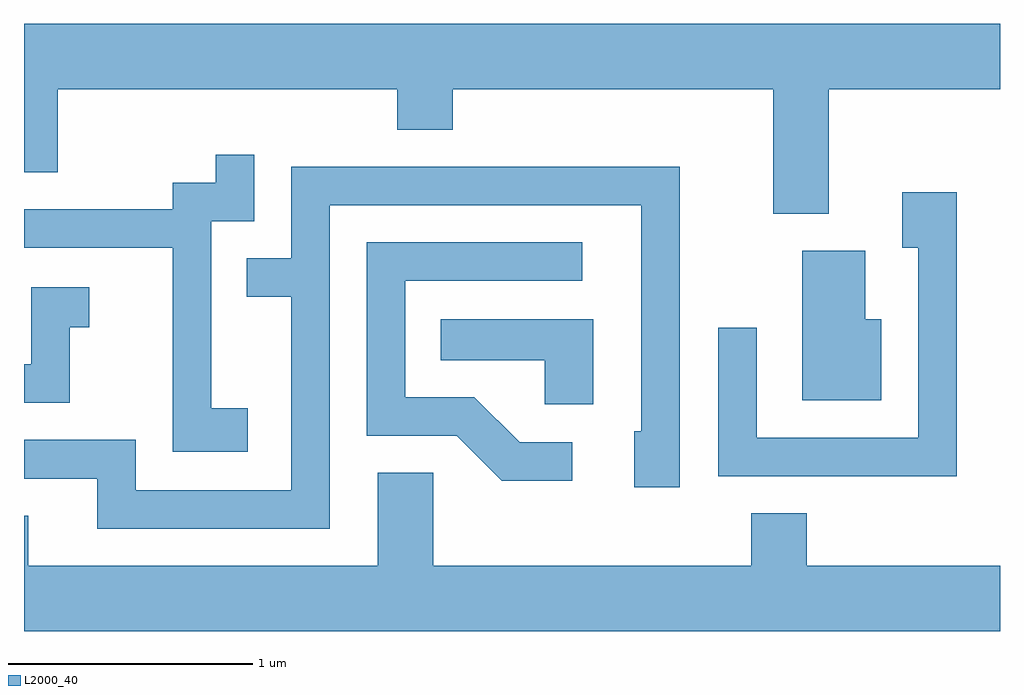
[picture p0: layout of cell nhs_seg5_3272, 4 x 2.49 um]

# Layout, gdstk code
import gdstk
lib = gdstk.Library(unit=1e-6, precision=1e-09)
def P(c, l, *ps):  # polygons
    for p in ps: c.add(gdstk.Polygon(p, *l))
L2000_40 = (2000, 40)

nhs_seg5_3272 = lib.new_cell('nhs_seg5_3272')
P(nhs_seg5_3272, L2000_40, [(284.909,1505.636),(285.611,1505.636),(285.611,1505.904),(281.611,1505.904),(281.611,1505.296),(281.749,1505.296),(281.749,1505.636),(283.141,1505.636),(283.141,1505.471),(283.369,1505.471),(283.369,1505.636),(284.681,1505.636),(284.681,1505.126),(284.909,1505.126)],
  [(282.529,1504.329),(282.379,1504.329),(282.379,1505.096),(282.554,1505.096),(282.554,1505.368),(282.396,1505.368),(282.396,1505.254),(282.221,1505.254),(282.221,1505.144),(281.611,1505.144),(281.611,1504.986),(282.221,1504.986),(282.221,1504.151),(282.529,1504.151)],
  [(282.864,1505.161),(284.141,1505.161),(284.141,1504.234),(284.111,1504.234),(284.111,1504.006),(284.299,1504.006),(284.299,1505.319),(282.706,1505.319),(282.706,1504.944),(282.523,1504.944),(282.523,1504.786),(282.706,1504.786),(282.706,1503.994),(282.069,1503.994),(282.069,1504.199),(281.611,1504.199),(281.611,1504.041),(281.911,1504.041),(281.911,1503.836),(282.864,1503.836)],
  [(285.434,1505.214),(285.211,1505.214),(285.211,1504.986),(285.276,1504.986),(285.276,1504.209),(284.614,1504.209),(284.614,1504.658),(284.456,1504.658),(284.456,1504.051),(285.434,1504.051)],
  [(283.858,1504.189),(283.642,1504.189),(283.457,1504.374),(283.174,1504.374),(283.174,1504.851),(283.898,1504.851),(283.898,1505.009),(283.016,1505.009),(283.016,1504.216),(283.384,1504.216),(283.569,1504.031),(283.858,1504.031)],
  [(285.124,1504.694),(285.059,1504.694),(285.059,1504.974),(284.801,1504.974),(284.801,1504.361),(285.124,1504.361)],
  [(281.799,1504.661),(281.878,1504.661),(281.878,1504.824),(281.641,1504.824),(281.641,1504.509),(281.611,1504.509),(281.611,1504.351),(281.799,1504.351)],
  [(283.944,1504.694),(283.318,1504.694),(283.318,1504.526),(283.746,1504.526),(283.746,1504.346),(283.944,1504.346)],
  [(285.611,1503.684),(284.819,1503.684),(284.819,1503.899),(284.591,1503.899),(284.591,1503.684),(283.289,1503.684),(283.289,1504.064),(283.061,1504.064),(283.061,1503.684),(281.629,1503.684),(281.629,1503.889),(281.611,1503.889),(281.611,1503.416),(285.611,1503.416)])

lib.write_gds('nhs_seg5_3272.gds')
